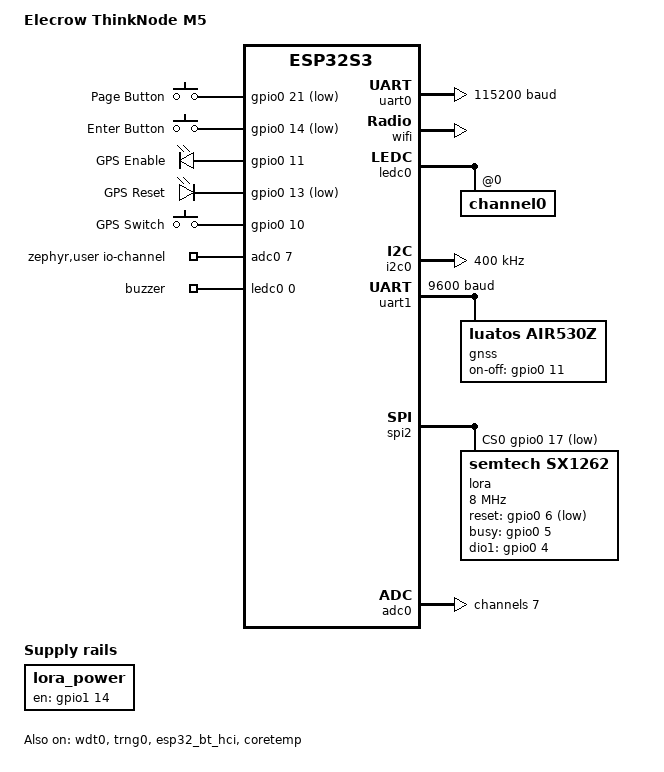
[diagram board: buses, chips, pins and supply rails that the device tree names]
/*
 * SPDX-License-Identifier: MIT
 * Elecrow ThinkNode M5 — ESP32-S3-WROOM-1-N4 + SX1262
 *
 * Hardware mapping is ported from official MeshCore variants/thinknode_m5:
 *   LoRa SPI2:  SCLK=16, MOSI=15, MISO=7, NSS=17
 *   LoRa ctrl:  EN=46, DIO1=4, RESET=6, BUSY=5, DIO2 RF switch, DIO3 3.3V TCXO
 *   GPS UART1:  MCU TX=20, MCU RX=19, EN=11, RESET=13, SWITCH=10
 *   Battery:    GPIO8 ADC, 12 dB attenuation, 2.11 divider multiplier
 *   I2C0:       SDA=2, SCL=1
 *   I2C1:       SDA=48, SCL=47, PCA9557 GPIO expander @0x18
 *   E-Ink SPI3: SCLK=38, MOSI=45, CS=39, DC=40, RST=41, BUSY=42
 *   Console:    UART0 TX=43, RX=44
 *   Buttons:    USER=21, PWR/BACK=14
 *   Buzzer:     GPIO9
 */

/dts-v1/;

#include <espressif/esp32s3/esp32s3_wroom_n4.dtsi>
#include "thinknode_m5-pinctrl.dtsi"
#include <zephyr/dt-bindings/adc/adc.h>
#include <zephyr/dt-bindings/input/input-event-codes.h>
#include <zephyr/dt-bindings/lora/sx126x.h>
#include <zephyr/dt-bindings/pwm/pwm.h>
#include <espressif/partitions_0x0_default_4M.dtsi>

/ {
	model = "Elecrow ThinkNode M5";
	compatible = "elecrow,thinknode-m5";

	chosen {
		zephyr,sram = &sram1;
		zephyr,console = &uart0;
		zephyr,shell-uart = &uart0;
		zephyr,flash = &flash0;
		zephyr,code-partition = &slot0_partition;
		zephyr,bt-hci = &esp32_bt_hci;
	};

		aliases {
			lora0 = &lora;
			sw0 = &page_button;
			sw1 = &enter_button;
			watchdog0 = &wdt0;
			buzzer = &buzzer;
			gps-enable = &gps_enable_pin;
			gps-reset = &gps_reset_pin;
	};

	buttons: buttons {
		compatible = "gpio-keys";

			page_button: button_0 {
				gpios = <&gpio0 21 (GPIO_PULL_UP | GPIO_ACTIVE_LOW)>;
				label = "Page Button";
				zephyr,code = <INPUT_KEY_0>;
			};

			enter_button: button_1 {
				gpios = <&gpio0 14 (GPIO_PULL_UP | GPIO_ACTIVE_LOW)>;
				label = "Enter Button";
				zephyr,code = <INPUT_KEY_ENTER>;
			};
		};

	page_btn_multitap {
		compatible = "zephcore,input-multi-tap";
		input-codes = <INPUT_KEY_0>;
		tap-codes = <INPUT_KEY_1 INPUT_KEY_LEFT>;
		tap-delay-ms = <400>;
	};

	lora_power: lora-power {
		compatible = "regulator-fixed";
		regulator-name = "lora-power";
		enable-gpios = <&gpio1 14 GPIO_ACTIVE_HIGH>;  /* GPIO46 */
		regulator-boot-on;
		regulator-always-on;
	};

	gps_en: gps-enable {
		compatible = "gpio-leds";
		gps_enable_pin: gps_enable {
			gpios = <&gpio0 11 GPIO_ACTIVE_HIGH>;
			label = "GPS Enable";
		};
	};

	gps_rst: gps-reset {
		compatible = "gpio-leds";
		gps_reset_pin: gps_reset {
			gpios = <&gpio0 13 GPIO_ACTIVE_LOW>;
			label = "GPS Reset";
		};
	};

	/* Physical GPS switch, same UI path as ThinkNode M1.
	 * HIGH = GPS on, LOW = GPS off; GPIO11 remains the runtime enable line. */
	gps_switch: gps-switch {
		compatible = "gpio-keys";
		gps_sw: gps_sw {
			gpios = <&gpio0 10 GPIO_ACTIVE_HIGH>;
			label = "GPS Switch";
			zephyr,code = <INPUT_KEY_G>;
		};
	};

	zephyr,user {
		io-channels = <&adc0 7>;       /* GPIO8 = ADC1 channel 7 */
		/* Same formula style as M1: ADC full-scale * divider.
		 * ESP32 Zephyr ADC_GAIN_1_4 maps to 12 dB attenuation, so the
		 * logical full-scale is 1100mV / (1/4) = 4400mV. Meshtastic's M5
		 * divider compensation is 2.0: 4400 * 2.0 = 8800. */
		vbat-mv-multiplier = <8800>;
	};

	pwmbuzzer {
		compatible = "pwm-leds";
		buzzer: buzzer {
			pwms = <&ledc0 0 PWM_MSEC(20) PWM_POLARITY_NORMAL>;
		};
	};
};

&cpu0 {
	clock-frequency = <DT_FREQ_M(240)>;
};

&cpu1 {
	clock-frequency = <DT_FREQ_M(240)>;
};

&gpio0 { status = "okay"; };
&gpio1 { status = "okay"; };
&wdt0 { status = "okay"; };
&trng0 { status = "okay"; };

&uart0 {
	status = "okay";
	current-speed = <115200>;
	pinctrl-0 = <&uart0_default>;
	pinctrl-names = "default";
};

&usb_serial {
	status = "disabled";
};

&esp32_bt_hci {
	status = "okay";
};

&wifi {
	status = "okay";
};

&ledc0 {
	pinctrl-0 = <&ledc0_default>;
	pinctrl-names = "default";
	status = "okay";
	#address-cells = <1>;
	#size-cells = <0>;

	channel0@0 {
		reg = <0x0>;
		timer = <0>;
	};
};

&i2c0 {
	status = "okay";
	clock-frequency = <I2C_BITRATE_FAST>;
	pinctrl-0 = <&i2c0_default>;
	pinctrl-names = "default";

	#include "../../common/sensors-i2c.dtsi"
	#include "../../common/rtc-i2c.dtsi"
};

&uart1 {
	status = "okay";
	current-speed = <9600>;
	pinctrl-0 = <&uart1_default>;
	pinctrl-names = "default";

	gnss: gnss {
		compatible = "luatos,air530z";
		on-off-gpios = <&gpio0 11 GPIO_ACTIVE_HIGH>;
	};
};

&coretemp {
	status = "okay";
};

&spi2 {
	status = "okay";
	#address-cells = <1>;
	#size-cells = <0>;
	pinctrl-0 = <&spim2_default>;
	pinctrl-names = "default";
	cs-gpios = <&gpio0 17 GPIO_ACTIVE_LOW>;

	lora: lora@0 {
		compatible = "semtech,sx1262";
		reg = <0>;
		spi-max-frequency = <8000000>;

		reset-gpios = <&gpio0 6 GPIO_ACTIVE_LOW>;
		busy-gpios = <&gpio0 5 GPIO_ACTIVE_HIGH>;
		dio1-gpios = <&gpio0 4 (GPIO_PULL_DOWN | GPIO_ACTIVE_HIGH)>;

		dio2-tx-enable;
		dio3-tcxo-voltage = <SX126X_DIO3_TCXO_3V3>;
		tcxo-power-startup-delay-ms = <10>;
		startup-delay-ms = <10>;
		rx-boosted;
	};
};

&adc0 {
	status = "okay";
	#address-cells = <1>;
	#size-cells = <0>;

	channel@7 {
		reg = <7>;
		/* MeshCore reads M5 VBAT with ADC_11db; Zephyr's closest ESP32
		 * mapping is ADC_GAIN_1_4 -> ADC_ATTEN_DB_12. */
		zephyr,gain = "ADC_GAIN_1_4";
		zephyr,reference = "ADC_REF_INTERNAL";
		zephyr,acquisition-time = <ADC_ACQ_TIME_DEFAULT>;
		zephyr,resolution = <12>;
	};
};

/*
 * Flash partitions — 4 MB layout with a small NVS store and LittleFS area.
 * Matches the existing XIAO ESP32-S3 ZephCore 4 MB companion layout.
 */
/delete-node/ &slot0_lpcore_partition;
/delete-node/ &slot1_lpcore_partition;
/delete-node/ &storage_partition;
/delete-node/ &scratch_partition;
/delete-node/ &coredump_partition;
/delete-node/ &slot0_partition;
/delete-node/ &slot1_partition;

/ {
	chosen {
		zephyr,settings-partition = &storage_partition;
	};
};

&flash0 {
	partitions {
		slot0_partition: partition@20000 {
			label = "image-0";
			reg = <0x20000 0x1BE000>;
		};
		slot1_partition: partition@1de000 {
			label = "image-1";
			reg = <0x1DE000 0x1BE000>;
		};
		storage_partition: partition@39c000 {
			label = "storage";
			reg = <0x39C000 0x4000>;
		};
		lfs_partition: partition@3a0000 {
			label = "lfs";
			reg = <0x3A0000 0x60000>;
		};
	};
};

#include "../../common/filesystem.dtsi"
